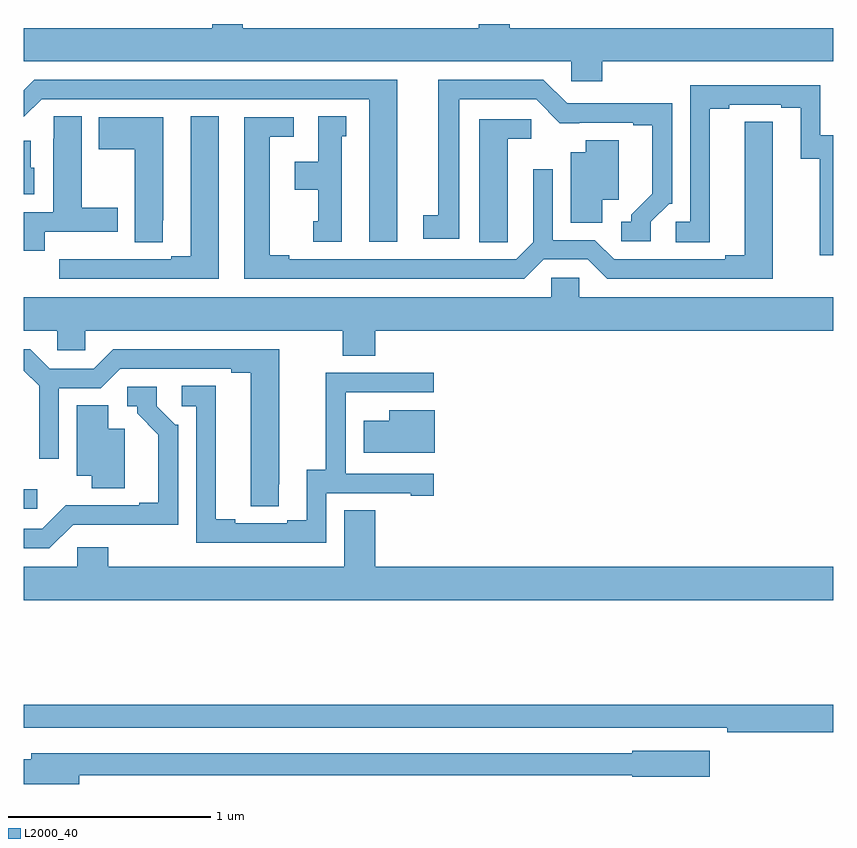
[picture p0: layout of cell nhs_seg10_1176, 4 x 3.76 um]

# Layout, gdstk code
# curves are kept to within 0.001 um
import gdstk
lib = gdstk.Library(unit=1e-6, precision=1e-09)
def R(c, l, rs):  # rectangles x0, y0, x1, y1
    for r in rs: c.add(gdstk.rectangle(r[:2], r[2:], *l))
def P(c, l, *ps):  # polygons
    for p in ps: c.add(gdstk.Polygon(p, *l))
L2000_40 = (2000, 40)

nhs_seg10_1176 = lib.new_cell('nhs_seg10_1176')
R(nhs_seg10_1176, L2000_40, [(171,1298.103,171.067,1298.2)])
P(nhs_seg10_1176, L2000_40, [(173.858,1300.316),(175,1300.316),(175,1300.48),(173.402,1300.48),(173.402,1300.5),(173.249,1300.5),(173.249,1300.48),(172.082,1300.48),(172.082,1300.5),(171.93,1300.5),(171.93,1300.48),(171,1300.48),(171,1300.316),(173.706,1300.316),(173.706,1300.218),(173.858,1300.218)],
  [(172.846,1300.224),(171.051,1300.224),(171,1300.173),(171,1300.041),(171.087,1300.128),(172.706,1300.128),(172.706,1299.423),(172.846,1299.423)],
  [(174.099,1299.522),(174.189,1299.612),(174.204,1299.612),(174.204,1300.109),(173.941,1300.109),(173.941,1300.107),(173.685,1300.107),(173.568,1300.224),(173.048,1300.224),(173.048,1299.554),(172.974,1299.554),(172.974,1299.438),(173.152,1299.438),(173.152,1300.128),(173.532,1300.128),(173.65,1300.01),(174.011,1300.011),(174.011,1299.999),(174.107,1299.999),(174.107,1299.662),(174.002,1299.557),(174.002,1299.522),(173.952,1299.522),(173.952,1299.426),(174.099,1299.426)],
  [(175,1299.951),(174.936,1299.951),(174.936,1300.197),(174.294,1300.197),(174.294,1299.522),(174.222,1299.522),(174.222,1299.421),(174.391,1299.421),(174.391,1300.081),(174.487,1300.081),(174.487,1300.101),(174.743,1300.101),(174.743,1300.086),(174.839,1300.086),(174.839,1299.835),(174.934,1299.835),(174.934,1299.357),(175,1299.357)],
  [(171.104,1299.474),(171.463,1299.474),(171.463,1299.591),(171.286,1299.591),(171.286,1300.043),(171.147,1300.043),(171.147,1299.932),(171.146,1299.932),(171.146,1299.57),(171,1299.57),(171,1299.378),(171.104,1299.378)],
  [(171.964,1300.043),(171.824,1300.043),(171.824,1299.351),(171.728,1299.351),(171.728,1299.336),(171.452,1299.336),(171.452,1299.337),(171.286,1299.337),(171.286,1299.336),(171.174,1299.336),(171.174,1299.24),(171.964,1299.24)],
  [(172.57,1299.945),(172.594,1299.945),(172.594,1300.043),(172.454,1300.043),(172.454,1299.82),(172.34,1299.82),(172.34,1299.68),(172.454,1299.68),(172.454,1299.525),(172.43,1299.525),(172.43,1299.423),(172.57,1299.423)],
  [(171.687,1299.529),(171.688,1299.529),(171.688,1300.039),(171.371,1300.039),(171.371,1299.88),(171.548,1299.88),(171.548,1299.421),(171.687,1299.421)],
  [(173.569,1299.336),(173.787,1299.336),(173.883,1299.24),(174.703,1299.24),(174.702,1300.016),(174.563,1300.016),(174.563,1299.356),(174.467,1299.356),(174.467,1299.336),(173.919,1299.336),(173.823,1299.432),(173.613,1299.432),(173.613,1299.781),(173.517,1299.781),(173.517,1299.42),(173.433,1299.336),(172.312,1299.336),(172.312,1299.356),(172.216,1299.356),(172.216,1299.942),(172.333,1299.942),(172.333,1300.038),(172.088,1300.038),(172.088,1299.24),(173.473,1299.24)],
  [(173.391,1299.529),(173.392,1299.529),(173.392,1299.932),(173.509,1299.932),(173.509,1300.029),(173.252,1300.029),(173.252,1299.421),(173.391,1299.421)],
  [(173.86,1299.632),(173.941,1299.632),(173.941,1299.926),(173.777,1299.926),(173.777,1299.865),(173.702,1299.865),(173.702,1299.517),(173.86,1299.517)],
  [(171.052,1299.789),(171.034,1299.789),(171.034,1299.922),(171,1299.922),(171,1299.659),(171.052,1299.659)],
  [(172.736,1298.984),(175,1298.984),(175,1299.148),(173.745,1299.148),(173.745,1299.246),(173.607,1299.246),(173.607,1299.148),(171,1299.148),(171,1298.984),(171.165,1298.984),(171.165,1298.886),(171.303,1298.886),(171.303,1298.984),(172.576,1298.984),(172.576,1298.86),(172.736,1298.86)],
  [(172.26,1298.224),(172.261,1298.892),(171.441,1298.892),(171.345,1298.796),(171.127,1298.796),(171.031,1298.892),(171,1298.892),(171,1298.787),(171.075,1298.712),(171.075,1298.352),(171.171,1298.352),(171.171,1298.7),(171.381,1298.7),(171.477,1298.796),(172.025,1298.796),(172.025,1298.776),(172.121,1298.776),(172.121,1298.116),(172.26,1298.116)],
  [(172.494,1298.181),(172.913,1298.181),(172.913,1298.169),(173.026,1298.169),(173.026,1298.277),(172.59,1298.277),(172.59,1298.678),(172.592,1298.678),(172.592,1298.679),(173.026,1298.679),(173.026,1298.775),(172.492,1298.775),(172.492,1298.297),(172.397,1298.297),(172.397,1298.046),(172.301,1298.046),(172.301,1298.031),(172.045,1298.031),(172.045,1298.051),(171.949,1298.051),(171.949,1298.711),(171.78,1298.711),(171.78,1298.61),(171.852,1298.61),(171.852,1297.935),(172.494,1297.935)],
  [(171.243,1298.025),(171.762,1298.024),(171.762,1298.52),(171.747,1298.52),(171.657,1298.61),(171.657,1298.706),(171.51,1298.706),(171.51,1298.61),(171.56,1298.61),(171.56,1298.575),(171.665,1298.47),(171.665,1298.134),(171.569,1298.134),(171.569,1298.121),(171.208,1298.122),(171.09,1298.004),(171,1298.004),(171,1297.908),(171.126,1297.908)],
  [(171.499,1298.5),(171.418,1298.5),(171.418,1298.615),(171.26,1298.615),(171.26,1298.267),(171.335,1298.267),(171.335,1298.206),(171.499,1298.206)],
  [(173.032,1298.59),(172.805,1298.59),(172.805,1298.539),(172.68,1298.539),(172.68,1298.381),(173.032,1298.381)],
  [(175,1297.816),(172.736,1297.816),(172.736,1298.096),(172.583,1298.096),(172.583,1297.816),(171.416,1297.816),(171.416,1297.914),(171.264,1297.914),(171.264,1297.816),(171,1297.816),(171,1297.652),(175,1297.652)],
  [(175,1297.136),(171,1297.136),(171,1297.02),(174.478,1297.02),(174.478,1297),(175,1297)],
  [(171.274,1296.786),(174.006,1296.786),(174.006,1296.778),(174.391,1296.778),(174.391,1296.907),(174.006,1296.907),(174.006,1296.894),(171.035,1296.894),(171.035,1296.865),(171,1296.865),(171,1296.743),(171.274,1296.743)])

lib.write_gds('nhs_seg10_1176.gds')
